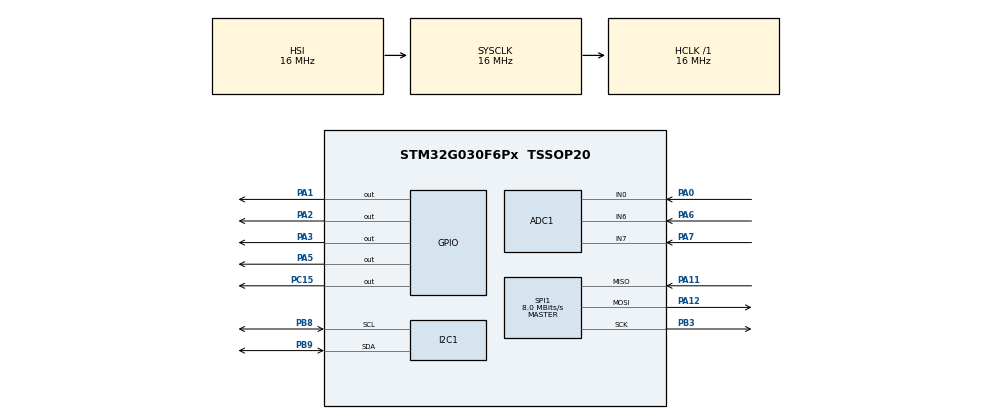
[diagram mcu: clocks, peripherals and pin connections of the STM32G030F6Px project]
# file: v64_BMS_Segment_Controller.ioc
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ADC1.Channel-0\#ChannelRegularConversion=ADC_CHANNEL_6
ADC1.ContinuousConvMode=ENABLE
ADC1.NbrOfConversion=1
ADC1.NbrOfConversionFlag=1
ADC1.SelectedChannel=ADC_CHANNEL_0|ADC_CHANNEL_6|ADC_CHANNEL_7
ADC1.master=1
I2C1.OwnAddress=0x20
Mcu.Family=STM32G0
Mcu.Name=STM32G030F6Px
Mcu.Package=TSSOP20
NVIC.I2C1_IRQn=true\:0\:0\:false\:false\:true\:true\:true\:true
PA0.Mode=IN0
PA0.Signal=ADC1_IN0
PA1.Signal=GPIO_Output
PA11\ [PA9].Mode=Full_Duplex_Master
PA11\ [PA9].Signal=SPI1_MISO
PA12\ [PA10].Mode=Full_Duplex_Master
PA12\ [PA10].Signal=SPI1_MOSI
PA13.Mode=Serial_Wire
PA13.Signal=SYS_SWDIO
PA14-BOOT0.Mode=Serial_Wire
PA14-BOOT0.Signal=SYS_SWCLK
PA14-BOOT0__PA15.StandardMode=true
PA2.Signal=GPIO_Output
PA3.Signal=GPIO_Output
PA5.Signal=GPIO_Output
PA6.Mode=IN6
PA6.Signal=ADC1_IN6
PA7.Mode=IN7
PA7.Signal=ADC1_IN7
PB0__PB1__PB2__PA8.StandardMode=true
PB3.Mode=Full_Duplex_Master
PB3.Signal=SPI1_SCK
PB3__PB4__PB5__PB6.StandardMode=true
PB7__PB8.StandardMode=true
PB8.Mode=I2C
PB8.Signal=I2C1_SCL
PB9.Mode=I2C
PB9.Signal=I2C1_SDA
PC14-OSC32_IN\ (PC14)__PB9.StandardMode=true
PC15-OSC32_OUT\ (PC15).Signal=GPIO_Output
ProjectManager.HeapSize=0x200
ProjectManager.StackSize=0x400
ProjectManager.TargetToolchain=STM32CubeIDE
RCC.AHBFreq_Value=16000000
RCC.CortexFreq_Value=16000000
RCC.EXTERNAL_CLOCK_VALUE=12288000
RCC.HCLKFreq_Value=16000000
RCC.HSE_VALUE=8000000
RCC.HSI_VALUE=16000000
RCC.LSE_VALUE=32768
RCC.SYSCLKFreq_VALUE=16000000
RCC.VCOOutputFreq_Value=128000000
SPI1.CalculateBaudRate=8.0 MBits/s
SPI1.Direction=SPI_DIRECTION_2LINES
SPI1.Mode=SPI_MODE_MASTER
SPI1.VirtualType=VM_MASTER
TIM14.Channel=TIM_CHANNEL_1
TIM14.Period=65535
TIM14.Prescaler=16-1
VP_TIM14_VS_ClockSourceINT.Mode=Enable_Timer
VP_TIM14_VS_NoInput1.Mode=Input_Capture1_from_TI1_REMAP_TIM14
board=custom

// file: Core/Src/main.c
/* USER CODE BEGIN Header */
/**
 * Segment controller to handle states and functionality of the BMS segment boards.
 *
 * Controller continuously cycles through actions based on state.
 * Bluetooth triggers an interrupt and controller only services Tx during this time
 * Since no preemptive kernel is used, it is recommended to hold copies of data in main and
 * make sure copies are updated as fast as possible. Modules may be sampling data when interrupt occurs
 *
 *  2022 Peter Schinske 	-	V63
 *  2023 Brandon Ramirez	-	V64
 */
/* USER CODE END Header */

#include "main.h"

/* USER CODE BEGIN Includes */
#include "MaxFrontEnd.h"
#include "TempMonitor.h"
#include "BLESegment.h"

/* USER CODE END Includes */

/* USER CODE BEGIN PD */
typedef enum { IDLE, CHARGING, RUNNING } BMSSTATES_T;

/*
 * I2C data types
 */
/* Buffer used for transmission */
uint8_t txBuffer[3];
/* Buffer used for reception */
uint8_t rxBuffer[1];
uint8_t getMasterInput = 0;
uint8_t getTransferDirection = 0;

/*
 * MAX data
 */
float cell_voltages[NUM_CELLS] = { 0 };

/*
 * Temp data
 */
float cellTemps[2][NUMTHERMISTORS] = {{0},{0}};

/* USER CODE END PD */

ADC_HandleTypeDef hadc1;

I2C_HandleTypeDef hi2c1;

SPI_HandleTypeDef hspi1;

TIM_HandleTypeDef htim14;

/* USER CODE BEGIN PV */

BMSSTATES_T bmsStates = IDLE;

/* USER CODE END PV */

void SystemClock_Config(void);
static void MX_GPIO_Init(void);
static void MX_ADC1_Init(void);
static void MX_TIM14_Init(void);
static void MX_SPI1_Init(void);
static void MX_I2C1_Init(void);

int main(void)
{

  /* MCU Configuration--------------------------------------------------------*/

  /* Reset of all peripherals, Initializes the Flash interface and the Systick. */
  HAL_Init();

  /* Configure the system clock */
  SystemClock_Config();

  /* Initialize all configured peripherals */
  MX_GPIO_Init();
  MX_ADC1_Init();
  MX_TIM14_Init();
  MX_SPI1_Init();
  MX_I2C1_Init();
  /* USER CODE BEGIN 2 */
  MaxInit(&hspi1,&hadc1,&htim14);	// Pass peripheral pointers to MAX module and init
  TMInit(&hadc1);					// Pass ADC to temperature monitor and init
  //BLESegmentInit(&hi2c1);
  HAL_TIM_Base_Start(&htim14);		// Start hardware timer
  if(HAL_I2C_EnableListen_IT(&hi2c1) != HAL_OK)	// Enable I2C listening for bluetooth
  {
	  /* Transfer error in reception process */
	Error_Handler();
  }

  /* USER CODE END 2 */

  /* Infinite loop */
  /* USER CODE BEGIN WHILE */
  while(1) {

	  switch (bmsStates) {
	  case IDLE:
		  //MaxSampleCharges();
		  //MAXGetCharges();

		  //TMSampleTemps();
		  //TMGetTemps(&cellTemps);

		  /*
		   * Cells sitting idle on table
		   */
		  break;
	  case CHARGING:
		  /*
		   * If difference between two cells is too big, discharge the upper cell
		   */
		  break;
	  case RUNNING:
		  /*
		  * Only monitor charge and temps for CAN Bus
		  */
		  break;
	  default:
		  break;
	  }
    /* USER CODE END WHILE */

  }
}

void SystemClock_Config(void)
{
  RCC_OscInitTypeDef RCC_OscInitStruct = {0};
  RCC_ClkInitTypeDef RCC_ClkInitStruct = {0};

  /** Configure the main internal regulator output voltage
  */
  HAL_PWREx_ControlVoltageScaling(PWR_REGULATOR_VOLTAGE_SCALE1);

  /** Initializes the RCC Oscillators according to the specified parameters
  * in the RCC_OscInitTypeDef structure.
  */
  RCC_OscInitStruct.OscillatorType = RCC_OSCILLATORTYPE_HSI;
  RCC_OscInitStruct.HSIState = RCC_HSI_ON;
  RCC_OscInitStruct.HSIDiv = RCC_HSI_DIV1;
  RCC_OscInitStruct.HSICalibrationValue = RCC_HSICALIBRATION_DEFAULT;
  RCC_OscInitStruct.PLL.PLLState = RCC_PLL_NONE;
  if (HAL_RCC_OscConfig(&RCC_OscInitStruct) != HAL_OK)
  {
    Error_Handler();
  }

  /** Initializes the CPU, AHB and APB buses clocks
  */
  RCC_ClkInitStruct.ClockType = RCC_CLOCKTYPE_HCLK|RCC_CLOCKTYPE_SYSCLK
                              |RCC_CLOCKTYPE_PCLK1;
  RCC_ClkInitStruct.SYSCLKSource = RCC_SYSCLKSOURCE_HSI;
  RCC_ClkInitStruct.AHBCLKDivider = RCC_SYSCLK_DIV1;
  RCC_ClkInitStruct.APB1CLKDivider = RCC_HCLK_DIV1;

  if (HAL_RCC_ClockConfig(&RCC_ClkInitStruct, FLASH_LATENCY_0) != HAL_OK)
  {
    Error_Handler();
  }
}

static void MX_ADC1_Init(void)
{

  ADC_ChannelConfTypeDef sConfig = {0};

  /** Configure the global features of the ADC (Clock, Resolution, Data Alignment and number of conversion)
  */
  hadc1.Instance = ADC1;
  hadc1.Init.ClockPrescaler = ADC_CLOCK_SYNC_PCLK_DIV2;
  hadc1.Init.Resolution = ADC_RESOLUTION_12B;
  hadc1.Init.DataAlign = ADC_DATAALIGN_RIGHT;
  hadc1.Init.ScanConvMode = ADC_SCAN_DISABLE;
  hadc1.Init.EOCSelection = ADC_EOC_SINGLE_CONV;
  hadc1.Init.LowPowerAutoWait = DISABLE;
  hadc1.Init.LowPowerAutoPowerOff = DISABLE;
  hadc1.Init.ContinuousConvMode = ENABLE;
  hadc1.Init.NbrOfConversion = 1;
  hadc1.Init.ExternalTrigConv = ADC_SOFTWARE_START;
  hadc1.Init.ExternalTrigConvEdge = ADC_EXTERNALTRIGCONVEDGE_NONE;
  hadc1.Init.DMAContinuousRequests = DISABLE;
  hadc1.Init.Overrun = ADC_OVR_DATA_PRESERVED;
  hadc1.Init.SamplingTimeCommon1 = ADC_SAMPLETIME_1CYCLE_5;
  hadc1.Init.SamplingTimeCommon2 = ADC_SAMPLETIME_1CYCLE_5;
  hadc1.Init.OversamplingMode = DISABLE;
  hadc1.Init.TriggerFrequencyMode = ADC_TRIGGER_FREQ_HIGH;
  if (HAL_ADC_Init(&hadc1) != HAL_OK)
  {
    Error_Handler();
  }

  /** Configure Regular Channel
  */
  sConfig.Channel = ADC_CHANNEL_6;
  sConfig.Rank = ADC_REGULAR_RANK_1;
  sConfig.SamplingTime = ADC_SAMPLINGTIME_COMMON_1;
  if (HAL_ADC_ConfigChannel(&hadc1, &sConfig) != HAL_OK)
  {
    Error_Handler();
  }

}

static void MX_I2C1_Init(void)
{

  hi2c1.Instance = I2C1;
  hi2c1.Init.Timing = 0x00303D5B;
  hi2c1.Init.OwnAddress1 = 64;
  hi2c1.Init.AddressingMode = I2C_ADDRESSINGMODE_7BIT;
  hi2c1.Init.DualAddressMode = I2C_DUALADDRESS_DISABLE;
  hi2c1.Init.OwnAddress2 = 0;
  hi2c1.Init.OwnAddress2Masks = I2C_OA2_NOMASK;
  hi2c1.Init.GeneralCallMode = I2C_GENERALCALL_DISABLE;
  hi2c1.Init.NoStretchMode = I2C_NOSTRETCH_DISABLE;
  if (HAL_I2C_Init(&hi2c1) != HAL_OK)
  {
    Error_Handler();
  }

  /** Configure Analogue filter
  */
  if (HAL_I2CEx_ConfigAnalogFilter(&hi2c1, I2C_ANALOGFILTER_ENABLE) != HAL_OK)
  {
    Error_Handler();
  }

  /** Configure Digital filter
  */
  if (HAL_I2CEx_ConfigDigitalFilter(&hi2c1, 0) != HAL_OK)
  {
    Error_Handler();
  }

}

static void MX_SPI1_Init(void)
{

  /* SPI1 parameter configuration*/
  hspi1.Instance = SPI1;
  hspi1.Init.Mode = SPI_MODE_MASTER;
  hspi1.Init.Direction = SPI_DIRECTION_2LINES;
  hspi1.Init.DataSize = SPI_DATASIZE_8BIT;
  hspi1.Init.CLKPolarity = SPI_POLARITY_LOW;
  hspi1.Init.CLKPhase = SPI_PHASE_1EDGE;
  hspi1.Init.NSS = SPI_NSS_SOFT;
  hspi1.Init.BaudRatePrescaler = SPI_BAUDRATEPRESCALER_2;
  hspi1.Init.FirstBit = SPI_FIRSTBIT_MSB;
  hspi1.Init.TIMode = SPI_TIMODE_DISABLE;
  hspi1.Init.CRCCalculation = SPI_CRCCALCULATION_DISABLE;
  hspi1.Init.CRCPolynomial = 7;
  hspi1.Init.CRCLength = SPI_CRC_LENGTH_DATASIZE;
  hspi1.Init.NSSPMode = SPI_NSS_PULSE_ENABLE;
  if (HAL_SPI_Init(&hspi1) != HAL_OK)
  {
    Error_Handler();
  }

}

static void MX_TIM14_Init(void)
{

  TIM_IC_InitTypeDef sConfigIC = {0};

  htim14.Instance = TIM14;
  htim14.Init.Prescaler = 16-1;
  htim14.Init.CounterMode = TIM_COUNTERMODE_UP;
  htim14.Init.Period = 65535;
  htim14.Init.ClockDivision = TIM_CLOCKDIVISION_DIV1;
  htim14.Init.AutoReloadPreload = TIM_AUTORELOAD_PRELOAD_DISABLE;
  if (HAL_TIM_Base_Init(&htim14) != HAL_OK)
  {
    Error_Handler();
  }
  if (HAL_TIM_IC_Init(&htim14) != HAL_OK)
  {
    Error_Handler();
  }
  sConfigIC.ICPolarity = TIM_INPUTCHANNELPOLARITY_RISING;
  sConfigIC.ICSelection = TIM_ICSELECTION_DIRECTTI;
  sConfigIC.ICPrescaler = TIM_ICPSC_DIV1;
  sConfigIC.ICFilter = 0;
  if (HAL_TIM_IC_ConfigChannel(&htim14, &sConfigIC, TIM_CHANNEL_1) != HAL_OK)
  {
    Error_Handler();
  }
  if (HAL_TIMEx_TISelection(&htim14, TIM_TIM14_TI1_MCO, TIM_CHANNEL_1) != HAL_OK)
  {
    Error_Handler();
  }

}

static void MX_GPIO_Init(void)
{
  GPIO_InitTypeDef GPIO_InitStruct = {0};

  /* GPIO Ports Clock Enable */
  __HAL_RCC_GPIOB_CLK_ENABLE();
  __HAL_RCC_GPIOC_CLK_ENABLE();
  __HAL_RCC_GPIOA_CLK_ENABLE();

  /*Configure GPIO pin Output Level */
  HAL_GPIO_WritePin(GPIOC, GPIO_PIN_15, GPIO_PIN_RESET);

  /*Configure GPIO pin Output Level */
  HAL_GPIO_WritePin(GPIOA, GPIO_PIN_1|GPIO_PIN_2|GPIO_PIN_3|GPIO_PIN_5, GPIO_PIN_RESET);

  /*Configure GPIO pin : PC15 */
  GPIO_InitStruct.Pin = GPIO_PIN_15;
  GPIO_InitStruct.Mode = GPIO_MODE_OUTPUT_PP;
  GPIO_InitStruct.Pull = GPIO_NOPULL;
  GPIO_InitStruct.Speed = GPIO_SPEED_FREQ_LOW;
  HAL_GPIO_Init(GPIOC, &GPIO_InitStruct);

  /*Configure GPIO pins : PA1 PA2 PA3 PA5 */
  GPIO_InitStruct.Pin = GPIO_PIN_1|GPIO_PIN_2|GPIO_PIN_3|GPIO_PIN_5;
  GPIO_InitStruct.Mode = GPIO_MODE_OUTPUT_PP;
  GPIO_InitStruct.Pull = GPIO_NOPULL;
  GPIO_InitStruct.Speed = GPIO_SPEED_FREQ_LOW;
  HAL_GPIO_Init(GPIOA, &GPIO_InitStruct);

}

void Error_Handler(void)
{
  __disable_irq();
  while (1)
  {
  }
}
